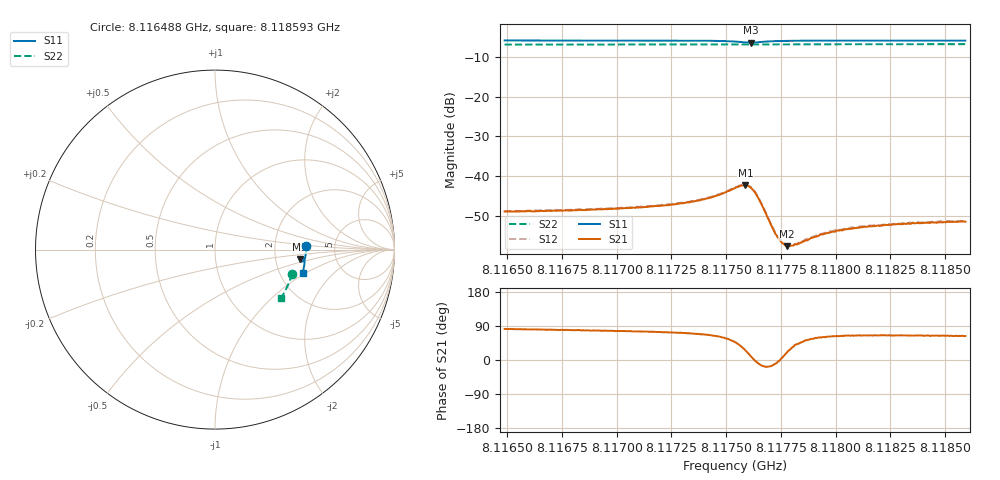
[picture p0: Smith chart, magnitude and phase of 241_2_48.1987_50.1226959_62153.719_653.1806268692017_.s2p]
#  HZ  S  RI  R  50.00
! Rohde & Schwarz Vector Network Analyzer
! Rohde-Schwarz,ZNB20-2Port,1311601062101988,3.16
! Created: UTC 3/20/2024, 11:46:51 AM
! freq[Hz]  re:S11  im:S11  re:S21  im:S21  re:S12  im:S12  re:S22  im:S22
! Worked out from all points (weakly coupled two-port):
!   401 points, 8.116488 GHz to 8.118593 GHz, reference 50 ohm
!   highest |S21| = -42.24 dB at 8.117588 GHz (marker M1); lowest = -57.5 dB at 8.117777 GHz (marker M2)
!   lowest |S11| = -6.4 dB at 8.117614 GHz (marker M3), VSWR 2.82, Z = 138 - j19.5 ohm
!   |S11| at or under -10 dB: nowhere
!   |S22| runs from -6.9 to -6.8 dB; largest |S21 - S12| = 0.00019
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8.1164881e9  0.5064 0.022  0.000511 0.00358  0.000554 0.00361  0.4289 -0.1348
8.1168406e9  0.5063 -0.00502  0.000773 0.00368  0.000814 0.00375  0.4218 -0.1584
8.1171932e9  0.5042 -0.0331  0.00121 0.00407  0.00127 0.00415  0.4136 -0.1815
8.1173826e9  0.5007 -0.0503  0.0019 0.00464  0.00193 0.00476  0.4082 -0.1939
8.1174721e9  0.4961 -0.0599  0.00286 0.00518  0.00295 0.00525  0.4056 -0.1996
8.1175405e9  0.4867 -0.0664  0.00483 0.00524  0.00498 0.00533  0.4032 -0.2039
8.1175668e9  0.4804 -0.0663  0.0061 0.00456  0.00618 0.00464  0.4022 -0.2055
8.1175879e9  0.4753 -0.0629  0.00697 0.00334  0.00713 0.00338  0.4014 -0.2065
8.1176142e9  0.4732 -0.0546  0.00704 0.00114  0.0072 0.00111  0.4007 -0.2077
8.11763e9  0.4754 -0.0498  0.00639 -5.55e-05  0.0065 -0.000135  0.4004 -0.2086
8.1176458e9  0.4792 -0.0469  0.00534 -0.00081  0.00543 -0.000858  0.4002 -0.2096
8.1177142e9  0.4937 -0.051  0.00212 -0.000504  0.00217 -0.000614  0.3988 -0.2138
8.1177352e9  0.4957 -0.0541  0.00172 -0.000164  0.00172 -0.000199  0.3983 -0.2152
8.1177563e9  0.497 -0.0569  0.00144 0.000159  0.00148 0.000132  0.3978 -0.2166
8.1177773e9  0.4977 -0.0595  0.00125 0.000442  0.0013 0.000445  0.397 -0.218
8.1177931e9  0.4981 -0.0614  0.00118 0.000629  0.00121 0.000603  0.3966 -0.2191
8.1178141e9  0.4985 -0.064  0.00108 0.000906  0.0011 0.00088  0.396 -0.2203
8.1178931e9  0.4987 -0.0721  0.000943 0.0014  0.000964 0.00142  0.3935 -0.2254
8.1179668e9  0.4984 -0.0789  0.000936 0.00173  0.000976 0.00176  0.391 -0.2299
8.1180615e9  0.4973 -0.087  0.000928 0.00198  0.00101 0.00199  0.3877 -0.2359
8.1182457e9  0.4946 -0.1017  0.00103 0.00224  0.00107 0.0023  0.3813 -0.2472
8.118593e9  0.4884 -0.1277  0.00122 0.0024  0.00124 0.00247  0.3683 -0.2678
